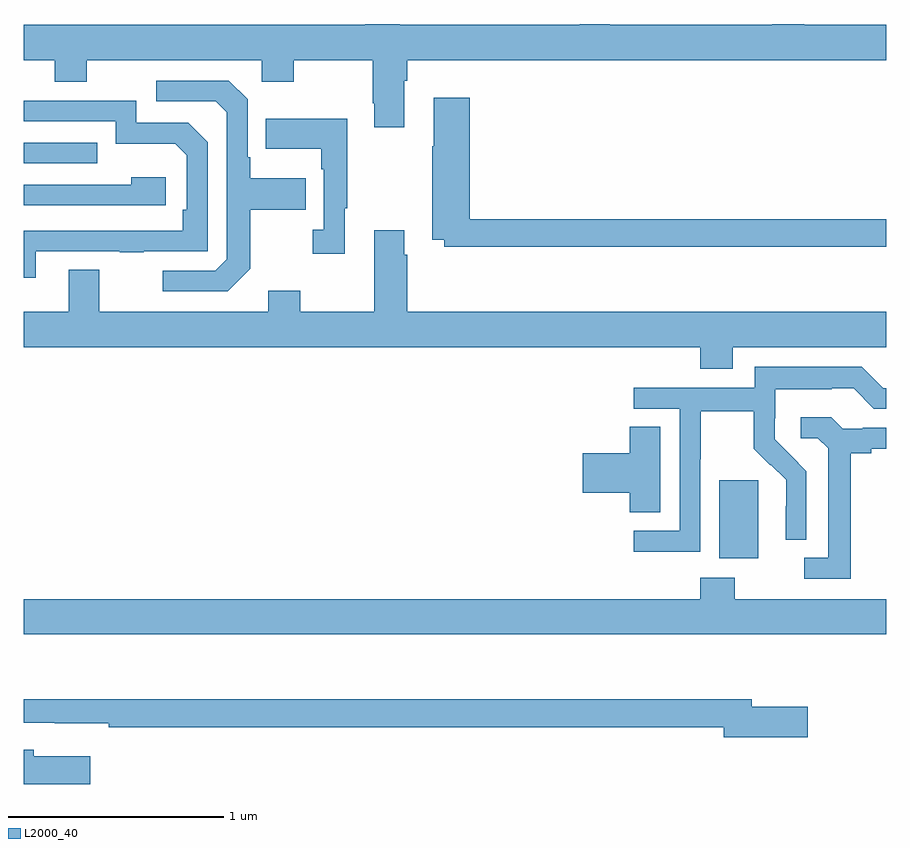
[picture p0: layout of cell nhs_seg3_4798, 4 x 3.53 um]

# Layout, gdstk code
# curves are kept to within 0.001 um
import gdstk
lib = gdstk.Library(unit=1e-6, precision=1e-09)
def R(c, l, rs):  # rectangles x0, y0, x1, y1
    for r in rs: c.add(gdstk.rectangle(r[:2], r[2:], *l))
def P(c, l, *ps):  # polygons
    for p in ps: c.add(gdstk.Polygon(p, *l))
L2000_40 = (2000, 40)

nhs_seg3_4798 = lib.new_cell('nhs_seg3_4798')
R(nhs_seg3_4798, L2000_40, [(372.227,715.922,372.406,716.283), (369,717.753,369.341,717.849)])
P(nhs_seg3_4798, L2000_40, [(370.765,718.136),(370.778,718.136),(370.778,718.232),(373,718.232),(373,718.396),(372.621,718.396),(372.621,718.4),(372.473,718.4),(372.473,718.396),(371.719,718.396),(371.719,718.4),(371.579,718.4),(371.579,718.396),(370.743,718.396),(370.743,718.4),(370.583,718.4),(370.583,718.396),(369,718.396),(369,718.232),(369.143,718.232),(369.143,718.133),(369.291,718.133),(369.291,718.232),(370.104,718.232),(370.104,718.133),(370.251,718.133),(370.251,718.232),(370.618,718.232),(370.618,718.033),(370.625,718.033),(370.625,717.921),(370.765,717.921)],
  [(370.051,717.265),(370.051,717.538),(370.307,717.538),(370.307,717.685),(370.051,717.685),(370.051,717.781),(370.038,717.781),(370.038,718.05),(369.951,718.137),(369.615,718.137),(369.615,718.041),(369.891,718.041),(369.942,717.99),(369.942,717.309),(369.888,717.255),(369.645,717.255),(369.645,717.159),(369.945,717.159)],
  [(373,717.494),(371.069,717.494),(371.069,718.057),(370.901,718.057),(370.901,717.833),(370.894,717.833),(370.894,717.398),(370.95,717.398),(370.95,717.366),(373,717.366)],
  [(369.055,717.345),(369.445,717.345),(369.445,717.34),(369.557,717.34),(369.557,717.345),(369.852,717.345),(369.852,717.852),(369.762,717.942),(369.522,717.942),(369.522,718.044),(369,718.044),(369,717.948),(369.426,717.948),(369.426,717.845),(369.703,717.845),(369.756,717.792),(369.756,717.538),(369.736,717.538),(369.736,717.441),(369,717.44),(369,717.222),(369.055,717.222)],
  [(370.489,717.545),(370.501,717.545),(370.501,717.961),(370.123,717.961),(370.123,717.821),(370.38,717.821),(370.38,717.725),(370.392,717.725),(370.392,717.446),(370.341,717.446),(370.341,717.333),(370.489,717.333)],
  [(369.658,717.688),(369.497,717.688),(369.497,717.654),(369,717.654),(369,717.558),(369.658,717.558)],
  [(372.289,716.9),(373,716.9),(373,717.064),(370.778,717.064),(370.778,717.329),(370.765,717.329),(370.765,717.442),(370.625,717.442),(370.625,717.064),(370.281,717.064),(370.281,717.163),(370.133,717.163),(370.133,717.064),(369.349,717.064),(369.349,717.259),(369.209,717.259),(369.209,717.064),(369,717.064),(369,716.9),(372.137,716.9),(372.137,716.801),(372.289,716.801)],
  [(372.138,716.38),(372.141,716.38),(372.141,716.604),(372.385,716.604),(372.385,716.429),(372.462,716.352),(372.465,716.355),(372.536,716.285),(372.536,716.162),(372.534,716.162),(372.534,716.008),(372.63,716.008),(372.63,716.326),(372.484,716.474),(372.484,716.571),(372.486,716.571),(372.486,716.705),(372.749,716.705),(372.749,716.709),(372.849,716.709),(372.942,716.616),(373,716.616),(373,716.709),(372.987,716.709),(372.887,716.809),(372.39,716.809),(372.39,716.712),(371.829,716.712),(371.829,716.616),(372.042,716.616),(372.042,716.049),(371.829,716.049),(371.829,715.951),(372.138,715.951)],
  [(372.835,716.408),(372.931,716.408),(372.931,716.43),(373,716.43),(373,716.526),(372.892,716.526),(372.892,716.523),(372.798,716.523),(372.746,716.575),(372.603,716.575),(372.603,716.478),(372.684,716.478),(372.731,716.431),(372.731,715.923),(372.621,715.923),(372.621,715.827),(372.835,715.827)],
  [(371.953,716.531),(371.81,716.531),(371.81,716.408),(371.592,716.408),(371.592,716.225),(371.81,716.225),(371.81,716.134),(371.953,716.134)],
  [(373,715.732),(372.297,715.732),(372.297,715.831),(372.137,715.831),(372.137,715.732),(369,715.732),(369,715.568),(373,715.568)],
  [(372.637,715.233),(372.376,715.233),(372.376,715.267),(369,715.267),(369,715.158),(369.142,715.158),(369.142,715.157),(369.394,715.157),(369.394,715.138),(372.248,715.138),(372.248,715.091),(372.637,715.091)],
  [(369.307,715.003),(369.046,715.003),(369.046,715.032),(369,715.032),(369,714.874),(369.307,714.874)])

lib.write_gds('nhs_seg3_4798.gds')
